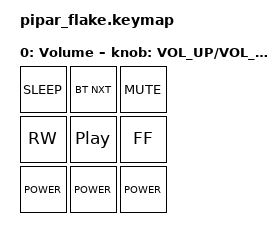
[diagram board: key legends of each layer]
/*
 * Copyright (c) 2022 The ZMK Contributors
 *
 * SPDX-License-Identifier: MIT
 */

#include <behaviors.dtsi>
#include <dt-bindings/zmk/bt.h>
#include <dt-bindings/zmk/keys.h>

#define BASE        0
#define FUNC        1

/ {
    sensors: sensors {
        compatible = "zmk,keymap-sensors";
        sensors = <&encoder_1>;
        triggers-per-rotation = <24>;
    };

    keymap {
        compatible = "zmk,keymap";

        iPhone {
            // ---------------------------//
            // | Q    | W     | ENCODER | //
            // | A    | S     | D       | //
            // | Z    | X     | FN      | //

            display-name = "Volume";
            bindings = <
&kp C_SLEEP  &bt BT_NXT        &kp C_MUTE
&kp C_RW     &kp C_PLAY_PAUSE  &kp C_FF
&kp C_POWER  &kp C_POWER       &kp C_POWER
            >;

            sensor-bindings = <&inc_dec_kp C_VOLUME_UP C_VOLUME_DOWN>;
        };
    };
};
